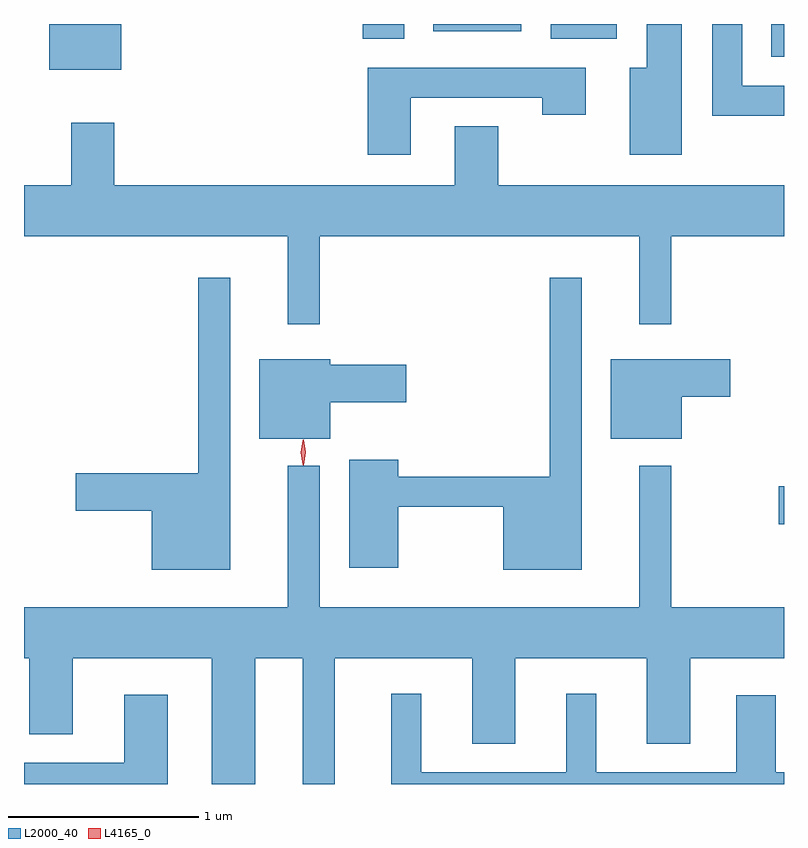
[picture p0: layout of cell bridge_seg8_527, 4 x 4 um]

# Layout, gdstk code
import gdstk
lib = gdstk.Library(unit=1e-6, precision=1e-09)
def R(c, l, rs):  # rectangles x0, y0, x1, y1
    for r in rs: c.add(gdstk.rectangle(r[:2], r[2:], *l))
def P(c, l, *ps):  # polygons
    for p in ps: c.add(gdstk.Polygon(p, *l))
L2000_40 = (2000, 40)
L4165_0 = (4165, 0)

bridge_seg8_527 = lib.new_cell('bridge_seg8_527')
R(bridge_seg8_527, L2000_40, [(264.476,1861.541,264.503,1861.739), (260.636,1863.931,261.014,1864.173), (264.436,1864.001,264.503,1864.173), (262.286,1864.096,262.504,1864.173), (263.276,1864.096,263.624,1864.173), (262.656,1864.136,263.119,1864.173)])
P(bridge_seg8_527, L2000_40, [(263.964,1864.173),(263.781,1864.173),(263.781,1863.944),(263.691,1863.944),(263.691,1863.486),(263.964,1863.486)],
  [(264.503,1863.849),(264.284,1863.849),(264.284,1864.173),(264.126,1864.173),(264.126,1863.691),(264.503,1863.691)],
  [(262.539,1863.786),(263.231,1863.786),(263.231,1863.696),(263.459,1863.696),(263.459,1863.944),(262.311,1863.944),(262.311,1863.486),(262.539,1863.486)],
  [(262.059,1863.056),(263.741,1863.056),(263.741,1862.593),(263.909,1862.593),(263.909,1863.056),(264.503,1863.056),(264.503,1863.324),(262.999,1863.324),(262.999,1863.634),(262.771,1863.634),(262.771,1863.324),(260.979,1863.324),(260.979,1863.654),(260.751,1863.654),(260.751,1863.324),(260.503,1863.324),(260.503,1863.056),(261.891,1863.056),(261.891,1862.593),(262.059,1862.593)],
  [(263.439,1862.838),(263.271,1862.838),(263.271,1861.789),(262.474,1861.789),(262.474,1861.879),(262.216,1861.879),(262.216,1861.311),(262.474,1861.311),(262.474,1861.631),(263.026,1861.631),(263.026,1861.301),(263.439,1861.301)],
  [(261.589,1862.838),(261.421,1862.838),(261.421,1861.809),(260.776,1861.809),(260.776,1861.611),(261.176,1861.611),(261.176,1861.301),(261.589,1861.301)],
  [(262.114,1862.181),(262.514,1862.181),(262.514,1862.379),(262.114,1862.379),(262.114,1862.409),(261.741,1862.409),(261.741,1861.991),(262.114,1861.991)],
  [(263.964,1862.211),(264.219,1862.211),(264.219,1862.409),(263.591,1862.409),(263.591,1861.991),(263.964,1861.991)],
  [(261.891,1861.104),(260.503,1861.104),(260.503,1860.836),(260.531,1860.836),(260.531,1860.436),(260.759,1860.436),(260.759,1860.836),(261.491,1860.836),(261.491,1860.173),(261.719,1860.173),(261.719,1860.836),(261.971,1860.836),(261.971,1860.173),(262.139,1860.173),(262.139,1860.836),(262.861,1860.836),(262.861,1860.386),(263.089,1860.386),(263.089,1860.836),(263.781,1860.836),(263.781,1860.386),(264.009,1860.386),(264.009,1860.836),(264.503,1860.836),(264.503,1861.104),(263.909,1861.104),(263.909,1861.848),(263.741,1861.848),(263.741,1861.104),(262.059,1861.104),(262.059,1861.848),(261.891,1861.848)],
  [(264.503,1860.234),(264.459,1860.234),(264.459,1860.639),(264.251,1860.639),(264.251,1860.234),(263.514,1860.234),(263.514,1860.648),(263.356,1860.648),(263.356,1860.234),(262.594,1860.234),(262.594,1860.648),(262.436,1860.648),(262.436,1860.173),(264.503,1860.173)],
  [(261.259,1860.644),(261.031,1860.644),(261.031,1860.284),(260.503,1860.284),(260.503,1860.173),(261.259,1860.173)])
P(bridge_seg8_527, L4165_0, [(261.969,1861.853),(261.96,1861.917),(261.969,1861.981),(261.969,1861.981),(261.97,1861.981),(261.98,1861.917),(261.97,1861.853),(261.97,1861.853)],
  [(261.974,1861.85),(261.965,1861.918),(261.974,1861.986),(261.975,1861.986),(261.975,1861.986),(261.985,1861.918),(261.975,1861.85),(261.975,1861.85)])

lib.write_gds('bridge_seg8_527.gds')
